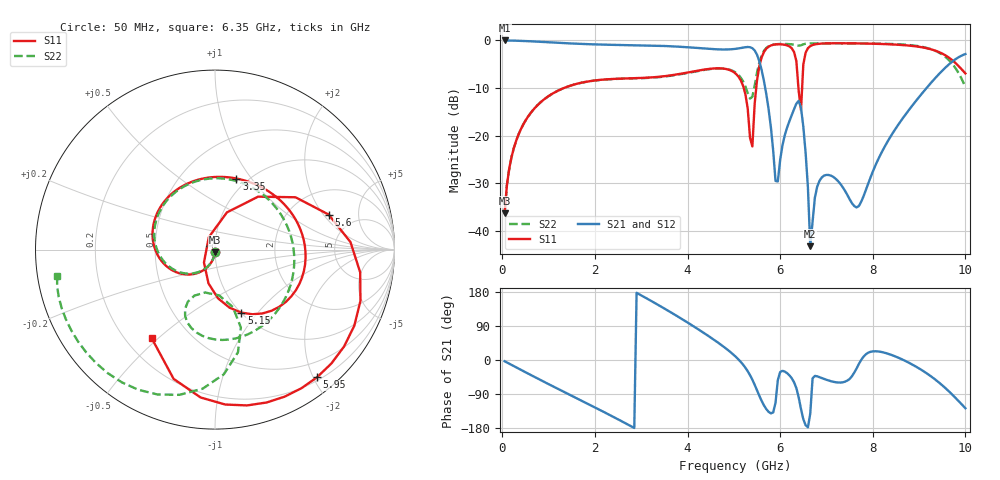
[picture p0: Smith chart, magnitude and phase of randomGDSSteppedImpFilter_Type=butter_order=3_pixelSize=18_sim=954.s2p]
! freq	dB(S11)	phase(S11)	dB(S12)	phase(S12)
!  dB(S21)	phase(S21)	dB(S22)	phase(S22)
!S-par simulation data
#  GHz  S  DB  R 50
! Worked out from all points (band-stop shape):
!   200 points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, 50 MHz to 10 GHz, reference 50 ohm
!   highest |S21| = -0.01 dB at 50 MHz (marker M1); lowest = -43.2 dB at 6.65 GHz (marker M2)
!   |S21| within 3 dB of the highest: start of sweep to 5.5 GHz; 9.961404 GHz to end of sweep
!   lowest |S11| = -36.3 dB at 50 MHz (marker M3), VSWR 1.03, Z = 49.9 - j1.54 ohm
!   |S11| at or under -10 dB: start of sweep to 1.329 GHz; 5.213 GHz to 5.483 GHz (270.5 MHz wide, 5.06 % of centre); 6.395 GHz to 6.474 GHz (78.96 MHz wide, 1.23 % of centre)
!   |S22| runs from -36.3 to -0.6 dB; largest |S21 - S12| = 0
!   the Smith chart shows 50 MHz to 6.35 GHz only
!   S11 on the Smith chart (normalised r, x): 50 MHz: 1.00, -0.03; 3.35 GHz: 0.89, +0.85; 5.15 GHz: 1.00, -0.82; 5.6 GHz: 3.25, +2.26; 5.95 GHz: 0.25, -2.05; 6.35 GHz: 0.30, -0.48
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0.05  -36.26 -91.7  -0.01 -3.3  -0.01 -3.3  -36.26 -91.9
0.5  -16.84 -122.1  -0.13 -32.2  -0.13 -32.2  -16.85 -123.4
1.75  -8.80 163.0  -0.75 -109.8  -0.75 -109.8  -8.81 156.2
2.6  -8.01 115.0  -0.97 -163.0  -0.97 -163.0  -8.04 97.9
3.35  -7.67 73.2  -1.12 146.5  -1.12 146.5  -7.74 39.0
3.4  -7.62 70.3  -1.14 143.0  -1.14 143.0  -7.69 34.9
4.25  -6.30 17.0  -1.61 79.6  -1.61 79.6  -6.38 -38.2
5.05  -7.06 -53.3  -1.75 7.5  -1.75 7.5  -6.81 -106.7
5.15  -8.39 -67.3  -1.60 -5.1  -1.60 -5.1  -7.82 -114.2
5.4  -22.27 116.7  -1.63 -52.1  -1.63 -52.1  -11.83 -84.9
5.6  -3.58 17.2  -6.21 -107.8  -6.21 -107.8  -3.14 -85.9
5.95  -0.81 -51.4  -29.61 -53.1  -29.61 -53.1  -0.76 -136.3
6.35  -4.34 -125.5  -13.27 -74.2  -13.27 -74.2  -1.00 -170.5
6.45  -14.64 9.9  -14.12 -129.5  -14.12 -129.5  -1.03 -175.1
6.5  -5.06 -26.3  -18.09 -156.0  -18.09 -156.0  -0.82 -178.3
6.65  -1.19 -68.8  -43.19 -141.6  -43.19 -141.6  -0.63 170.4
6.7  -0.97 -76.0  -37.97 -48.4  -37.97 -48.4  -0.62 166.8
6.95  -0.64 -99.5  -28.37 -50.0  -28.37 -50.0  -0.61 150.1
7.7  -0.63 -144.4  -34.77 -10.2  -34.77 -10.2  -0.63 102.6
8.35  -0.81 179.8  -20.73 15.7  -20.73 15.7  -0.73 60.5
9.2  -1.72 121.9  -9.55 -38.2  -9.55 -38.2  -1.66 -4.2
10  -6.93 51.2  -2.86 -127.3  -2.86 -127.3  -9.81 -110.6
